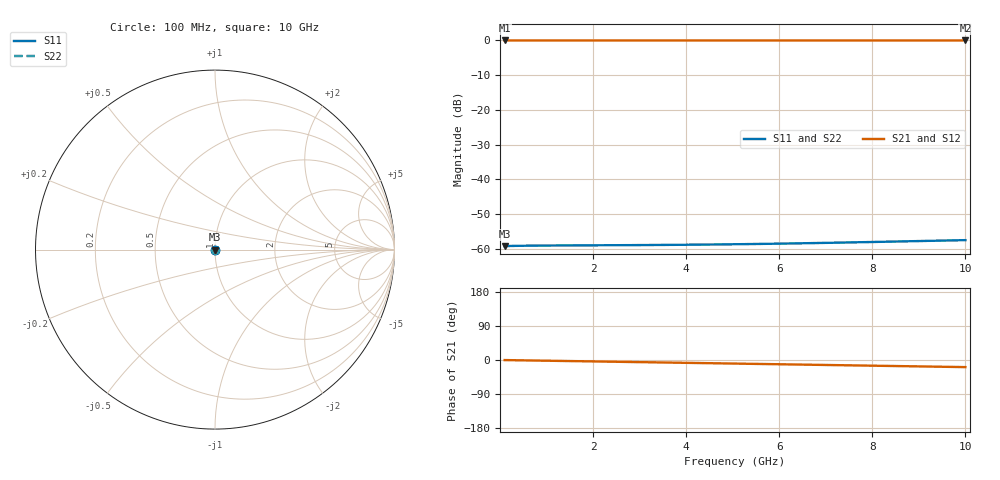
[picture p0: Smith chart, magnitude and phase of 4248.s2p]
# Hz S RI R 50.00
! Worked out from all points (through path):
!   100 points, 100 MHz to 10 GHz, reference 50 ohm
!   highest |S21| = -0.01 dB at 100 MHz (marker M1); lowest = 0.0 dB at 10 GHz (marker M2)
!   group delay of S21, straight-line fit = 5.21 ps
!   lowest |S11| = -59.2 dB at 100 MHz (marker M3), VSWR 1.00, Z = 50.1 - j0.000884 ohm
!   |S11| at or under -10 dB: start of sweep to end of sweep
!   |S22| runs from -59.2 to -57.5 dB; largest |S21 - S12| = 0
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1e8  0.0011 -8.82e-06  0.9989 -0.00326  0.9989 -0.00326  0.0011 -8.82e-06
2e8  0.0011 -1.77e-05  0.9989 -0.00651  0.9989 -0.00651  0.0011 -1.77e-05
3e8  0.00111 -2.66e-05  0.9988 -0.00977  0.9988 -0.00977  0.00111 -2.66e-05
4e8  0.00111 -3.56e-05  0.9988 -0.013  0.9988 -0.013  0.00111 -3.56e-05
6e8  0.00111 -5.37e-05  0.9987 -0.0195  0.9987 -0.0195  0.00111 -5.37e-05
8e8  0.00112 -7.2e-05  0.9985 -0.026  0.9985 -0.026  0.00112 -7.2e-05
1.1e9  0.00112 -9.99e-05  0.9982 -0.0358  0.9982 -0.0358  0.00112 -9.99e-05
1.8e9  0.00111 -0.000167  0.9971 -0.0586  0.9971 -0.0586  0.00111 -0.000167
2.6e9  0.00111 -0.000249  0.9952 -0.0846  0.9952 -0.0846  0.00111 -0.000249
3.4e9  0.00109 -0.000335  0.9926 -0.1106  0.9926 -0.1106  0.00109 -0.000335
3.9e9  0.00108 -0.00039  0.9907 -0.1268  0.9907 -0.1268  0.00108 -0.00039
4.3e9  0.00107 -0.000436  0.9889 -0.1397  0.9889 -0.1397  0.00107 -0.000436
4.7e9  0.00106 -0.000482  0.987 -0.1527  0.987 -0.1527  0.00106 -0.000482
5.1e9  0.00104 -0.000529  0.9849 -0.1656  0.9849 -0.1656  0.00104 -0.000529
5.5e9  0.00103 -0.000576  0.9826 -0.1785  0.9826 -0.1785  0.00103 -0.000576
5.9e9  0.00101 -0.000623  0.9802 -0.1913  0.9802 -0.1913  0.00101 -0.000623
6.3e9  0.000997 -0.000671  0.9776 -0.2042  0.9776 -0.2042  0.000997 -0.000671
6.7e9  0.000978 -0.000718  0.9748 -0.217  0.9748 -0.217  0.000978 -0.000718
7.5e9  0.000939 -0.000812  0.9688 -0.2425  0.9688 -0.2425  0.000939 -0.000812
8.4e9  0.000889 -0.000915  0.9611 -0.2711  0.9611 -0.2711  0.000889 -0.000915
9.2e9  0.000841 -0.001  0.9536 -0.2963  0.9536 -0.2963  0.000841 -0.001
1e10  0.00079 -0.00108  0.9455 -0.3213  0.9455 -0.3213  0.00079 -0.00108
